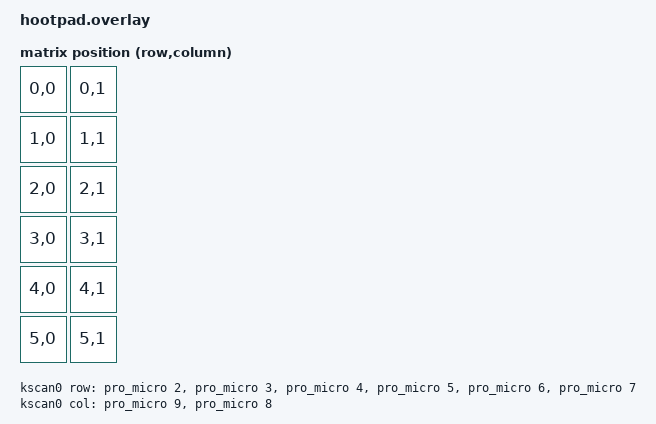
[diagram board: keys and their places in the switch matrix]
#include <dt-bindings/zmk/matrix_transform.h> // Put this with the other includes at the top of your overlay
#include "hootpad.dtsi"
/ {
    matrix_transform0: keymap_transform0 {
        compatible = "zmk,matrix-transform";
        columns = <2>; // Length of the "col-gpios" array
        rows = <6>; // Length of the "row-gpios" array
        map = <
            RC(0,0) RC(0,1)
            RC(1,0) RC(1,1)
            RC(2,0) RC(2,1)
            RC(3,0) RC(3,1)
            RC(4,0) RC(4,1)
            RC(5,0) RC(5,1)
        >;
    };
};
/ {
    kscan0: kscan0 {
        compatible = "zmk,kscan-gpio-matrix";
        diode-direction = "row2col";
        wakeup-source;

        col-gpios
            = <&pro_micro 9 GPIO_ACTIVE_HIGH>
            , <&pro_micro 8 GPIO_ACTIVE_HIGH>
            ;

        row-gpios
            = <&pro_micro 2 (GPIO_ACTIVE_HIGH | GPIO_PULL_DOWN)>
            , <&pro_micro 3 (GPIO_ACTIVE_HIGH | GPIO_PULL_DOWN)>
            , <&pro_micro 4 (GPIO_ACTIVE_HIGH | GPIO_PULL_DOWN)>
            , <&pro_micro 5 (GPIO_ACTIVE_HIGH | GPIO_PULL_DOWN)>
            , <&pro_micro 6 (GPIO_ACTIVE_HIGH | GPIO_PULL_DOWN)>
            , <&pro_micro 7 (GPIO_ACTIVE_HIGH | GPIO_PULL_DOWN)>
            ;
    };
};
/ {
    chosen {
        zmk,physical-layout = &physical_layout0;
        // Other chosen items
    };
};
